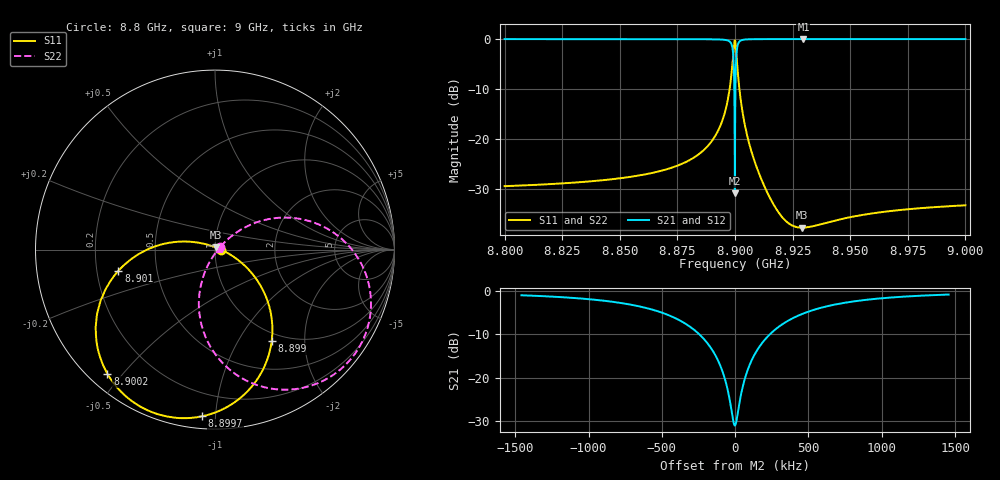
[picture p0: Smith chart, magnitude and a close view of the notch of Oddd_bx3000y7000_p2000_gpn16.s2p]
! Sonnet Data File
! From: emgraph Version : 16.52
! From Project: Resonator2_cp
! Data is De-embedded
! Data File Written: 10/06/2017 09:05:50
!< HDATE 10/05/2017 15:28:06
!< MDATE 10/05/2017 15:28:06
!< PARAMS
!< gap = 16.0
!< Length = 400.0
!< Pwid1 = 2000.0
!< Pwid2 = 2000.0
!< END PARAMS
# GHZ S MA R 35.97000
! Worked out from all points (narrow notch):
!   1595 points, 8.8 GHz to 9 GHz, reference 35.97 ohm
!   highest |S21| = 0.00 dB at 8.9297 GHz (marker M1); lowest = -30.9 dB at 8.8999 GHz (marker M2)
!   notch at M2: 30.9 dB deep, 245 kHz wide at half that depth
!   lowest |S11| = -37.8 dB at 8.929 GHz (marker M3), VSWR 1.03, Z = 36.3 + j0.871 ohm
!   |S11| at or under -10 dB: start of sweep to 8.8977 GHz; 8.9019 GHz to end of sweep
!   |S22| runs from -37.8 to -0.2 dB; largest |S21 - S12| = 0
!   S11 on the Smith chart (normalised r, x): 8.8 GHz: 1.07, +0.00; 8.899 GHz: 0.88, -1.40; 8.8997 GHz: 0.07, -0.92; 8.9002 GHz: 0.05, -0.46; 8.901 GHz: 0.29, -0.10; 9 GHz: 1.04, +0.01
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8.8  0.03349 0.5  0.9994 -75.4  0.9994 -75.4  0.03349 28.8
!< P1 F=8.8 Eeff=(5.36817953 -2.3731e-5) Z0=(35.9853883 8.0522e-5) R=0.0 C=0.0
!< P2 F=8.8 Eeff=(5.36817953 -2.3731e-5) Z0=(35.9853883 8.0522e-5) R=0.0 C=0.0
8.8334  0.03684 -2.2  0.9993 -75.9  0.9993 -75.9  0.03684 30.4
8.8668  0.04703 -7.6  0.9989 -76.8  0.9989 -76.8  0.04704 34.1
8.8902  0.09678 -19.1  0.9951 -79.9  0.9951 -79.9  0.09682 39.1
8.8968  0.241 -32.4  0.9691 -88.4  0.9691 -88.4  0.2411 35.0
8.898982  0.5983 -58.1  0.7888 -111.2  0.7888 -111.2  0.5987 13.3
8.899459  0.8133 -77.4  0.5483 -128.8  0.5483 -128.8  0.8139 -5.0
8.899725  0.9316 -94.4  0.2854 -142.6  0.2854 -142.6  0.9323 -21.5
8.899841  0.9623 -103.2  0.14 -145.1  0.14 -145.1  0.963 -30.0
8.899944  0.9713 -111.3  0.02847 -69.3  0.02847 -69.3  0.972 -37.9
8.9  0.968 -115.8  0.08503 -8.6  0.08503 -8.6  0.9688 -42.3
8.900076  0.9546 -121.9  0.1855 -3.8  0.1855 -3.8  0.9553 -48.2
8.900196  0.9154 -130.9  0.334 -8.6  0.334 -8.6  0.9161 -57.0
8.900959  0.5504 -167.7  0.8233 -41.1  0.8233 -41.1  0.5509 -92.1
8.9034  0.177 165.3  0.983 -64.3  0.983 -64.3  0.1772 -113.1
8.910813  0.04261 143.7  0.999 -72.2  0.999 -72.2  0.04268 -107.8
8.92  0.0169 109.9  0.9998 -74.0  0.9998 -74.0  0.01695 -77.7
8.929  0.01285 69.0  0.9999 -74.7  0.9999 -74.7  0.01289 -38.4
8.929698  0.01286 66.4  0.9999 -74.8  0.9999 -74.8  0.01289 -35.9
8.9334  0.01323 54.8  0.9999 -74.9  0.9999 -74.9  0.01325 -24.7
8.9668  0.01879 20.7  0.9998 -75.8  0.9998 -75.8  0.0188 7.6
9  0.02153 13.7  0.9998 -76.3  0.9998 -76.3  0.02153 13.6
